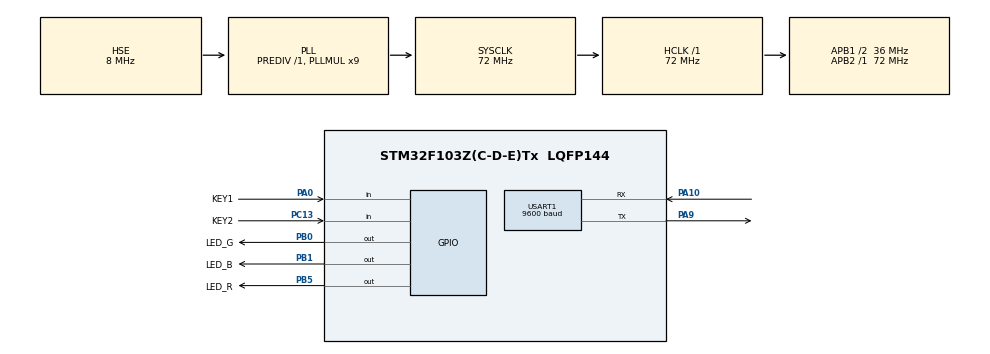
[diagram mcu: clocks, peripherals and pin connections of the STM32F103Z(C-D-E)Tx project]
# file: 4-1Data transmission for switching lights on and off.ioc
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Mcu.Family=STM32F1
Mcu.Name=STM32F103Z(C-D-E)Tx
Mcu.Package=LQFP144
NVIC.PriorityGroup=NVIC_PRIORITYGROUP_4
NVIC.USART1_IRQn=true\:10\:0\:true\:false\:true\:true\:true\:true
OSC_IN.Mode=HSE-External-Oscillator
OSC_IN.Signal=RCC_OSC_IN
OSC_OUT.Mode=HSE-External-Oscillator
OSC_OUT.Signal=RCC_OSC_OUT
PA0-WKUP.GPIO_Label=KEY1
PA0-WKUP.Signal=GPIO_Input
PA10.Mode=Asynchronous
PA10.Signal=USART1_RX
PA13.Mode=Serial_Wire
PA13.Signal=SYS_JTMS-SWDIO
PA14.Mode=Serial_Wire
PA14.Signal=SYS_JTCK-SWCLK
PA9.Mode=Asynchronous
PA9.Signal=USART1_TX
PB0.GPIO_Label=LED_G
PB0.GPIO_ModeDefaultOutputPP=GPIO_MODE_OUTPUT_PP
PB0.GPIO_Speed=GPIO_SPEED_FREQ_HIGH
PB0.PinState=GPIO_PIN_SET
PB0.Signal=GPIO_Output
PB1.GPIO_Label=LED_B
PB1.GPIO_Speed=GPIO_SPEED_FREQ_HIGH
PB1.PinState=GPIO_PIN_SET
PB1.Signal=GPIO_Output
PB5.GPIO_Label=LED_R
PB5.GPIO_Speed=GPIO_SPEED_FREQ_HIGH
PB5.PinState=GPIO_PIN_SET
PB5.Signal=GPIO_Output
PC13-TAMPER-RTC.GPIO_Label=KEY2
PC13-TAMPER-RTC.GPIO_PuPd=GPIO_NOPULL
PC13-TAMPER-RTC.Signal=GPIO_Input
PC14-OSC32_IN.Mode=LSE-External-Oscillator
PC14-OSC32_IN.Signal=RCC_OSC32_IN
PC15-OSC32_OUT.Mode=LSE-External-Oscillator
PC15-OSC32_OUT.Signal=RCC_OSC32_OUT
ProjectManager.HeapSize=0x200
ProjectManager.StackSize=0x400
ProjectManager.TargetToolchain=MDK-ARM V5
RCC.AHBFreq_Value=72000000
RCC.APB1CLKDivider=RCC_HCLK_DIV2
RCC.APB1Freq_Value=36000000
RCC.APB1TimFreq_Value=72000000
RCC.APB2Freq_Value=72000000
RCC.APB2TimFreq_Value=72000000
RCC.HCLKFreq_Value=72000000
RCC.PLLMUL=RCC_PLL_MUL9
RCC.PLLSourceVirtual=RCC_PLLSOURCE_HSE
RCC.SYSCLKFreq_VALUE=72000000
RCC.SYSCLKSource=RCC_SYSCLKSOURCE_PLLCLK
RCC.USBFreq_Value=72000000
USART1.BaudRate=9600
USART1.Mode=MODE_TX_RX
USART1.VirtualMode=VM_ASYNC
USART1.WordLength=WORDLENGTH_8B
board=custom

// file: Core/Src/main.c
/* USER CODE BEGIN Header */
/**
  ******************************************************************************
  * @file           : main.c
  * @brief          : Main program body
  ******************************************************************************
  * @attention
  *
  * Copyright (c) 2025 STMicroelectronics.
  * All rights reserved.
  *
  * This software is licensed under terms that can be found in the LICENSE file
  * in the root directory of this software component.
  * If no LICENSE file comes with this software, it is provided AS-IS.
  *
  ******************************************************************************
  */
/* USER CODE END Header */
#include "main.h"

/* USER CODE BEGIN Includes */
#include "stdio.h"

/* USER CODE END Includes */

UART_HandleTypeDef huart1;

void SystemClock_Config(void);
static void MX_GPIO_Init(void);
static void MX_USART1_UART_Init(void);

/* USER CODE BEGIN 0 */
/**
 * @brief 按键扫描函数
 * @return 按键状态
 */
unsigned char KeyScan(void)
{
    static unsigned char keyUp = 1; // 按键按下或松开标志，为1松手
    if(keyUp && (KEY1 == KEY_PRES || KEY2 == KEY_PRES)) // 如果有按键按下
    {
        HAL_Delay(10); // 延时消抖
        keyUp = 0; // 置按键按下标志
        if(KEY1 == KEY_PRES)
        {
            return KEY1_PRES; // KEY1被按下返回标志
        }
        else if(KEY2 == KEY_PRES)
        {
            return KEY2_PRES; // KEY2被按下返回标志
        }
    }
    else if(KEY1 == KEY_FREE && KEY2 == KEY_FREE) // 如果没有按键被按下
    {
        keyUp = 1; // 置按键松开标志
    }
    return 0; // 无按键按下
}

// 在Keil 魔术棒->Targets->C/C++选项卡中将"Use MicroLIB"选项勾选，否则printf无法使用
/**
 * @brief 重定向c库函数printf到USART1
 * @param ch 需要发送的字符
 * @param f 文件指针
 * @return 发送的字符
 */
int fputc(int ch, FILE *f)
{
    HAL_UART_Transmit(&huart1, (uint8_t *)&ch, 1, 0xFFFF); // 通过串口发送数据
    return ch;
}

/* USER CODE END 0 */

int main(void)
{

  /* USER CODE BEGIN 1 */
  unsigned char uartBuf[18] = "you pressed key1 !"; // 定义发送字符串
  unsigned char keyCnt = 0; // 串口发送计数器

  /* USER CODE END 1 */

  /* MCU Configuration--------------------------------------------------------*/

  /* Reset of all peripherals, Initializes the Flash interface and the Systick. */
  HAL_Init();

  /* Configure the system clock */
  SystemClock_Config();

  /* Initialize all configured peripherals */
  MX_GPIO_Init();
  MX_USART1_UART_Init();

  /* Infinite loop */
  /* USER CODE BEGIN WHILE */
  while (1)
  {
    // // 串口单独发送测试
    // if (KEY1_PRES == KeyScan()) // 如果KEY1按下
    // {
    //     HAL_GPIO_TogglePin(LED_R_GPIO_Port, LED_R_Pin); // 红灯状态取反
    //     HAL_UART_Transmit(&huart1, uartBuf, 18, 0xFFFF); // 通过串口发送字符串
    // }
    // 重映射printf函数测试
    if (KEY1_PRES == KeyScan()) // 如果KEY1按下
    {
        keyCnt++;
        HAL_GPIO_TogglePin(LED_R_GPIO_Port, LED_R_Pin); // 红灯状态取反
        HAL_UART_Transmit(&huart1, uartBuf, 18, 0xFFFF); // 通过串口发送字符串
        printf("you pressed key1 %d times !\r\n", keyCnt); // 通过串口发送字符串
    }
    /* USER CODE END WHILE */

  }
}

void SystemClock_Config(void)
{
  RCC_OscInitTypeDef RCC_OscInitStruct = {0};
  RCC_ClkInitTypeDef RCC_ClkInitStruct = {0};

  /** Initializes the RCC Oscillators according to the specified parameters
  * in the RCC_OscInitTypeDef structure.
  */
  RCC_OscInitStruct.OscillatorType = RCC_OSCILLATORTYPE_HSE;
  RCC_OscInitStruct.HSEState = RCC_HSE_ON;
  RCC_OscInitStruct.HSEPredivValue = RCC_HSE_PREDIV_DIV1;
  RCC_OscInitStruct.HSIState = RCC_HSI_ON;
  RCC_OscInitStruct.PLL.PLLState = RCC_PLL_ON;
  RCC_OscInitStruct.PLL.PLLSource = RCC_PLLSOURCE_HSE;
  RCC_OscInitStruct.PLL.PLLMUL = RCC_PLL_MUL9;
  if (HAL_RCC_OscConfig(&RCC_OscInitStruct) != HAL_OK)
  {
    Error_Handler();
  }

  /** Initializes the CPU, AHB and APB buses clocks
  */
  RCC_ClkInitStruct.ClockType = RCC_CLOCKTYPE_HCLK|RCC_CLOCKTYPE_SYSCLK
                              |RCC_CLOCKTYPE_PCLK1|RCC_CLOCKTYPE_PCLK2;
  RCC_ClkInitStruct.SYSCLKSource = RCC_SYSCLKSOURCE_PLLCLK;
  RCC_ClkInitStruct.AHBCLKDivider = RCC_SYSCLK_DIV1;
  RCC_ClkInitStruct.APB1CLKDivider = RCC_HCLK_DIV2;
  RCC_ClkInitStruct.APB2CLKDivider = RCC_HCLK_DIV1;

  if (HAL_RCC_ClockConfig(&RCC_ClkInitStruct, FLASH_LATENCY_2) != HAL_OK)
  {
    Error_Handler();
  }
}

static void MX_USART1_UART_Init(void)
{

  huart1.Instance = USART1;
  huart1.Init.BaudRate = 9600;
  huart1.Init.WordLength = UART_WORDLENGTH_8B;
  huart1.Init.StopBits = UART_STOPBITS_1;
  huart1.Init.Parity = UART_PARITY_NONE;
  huart1.Init.Mode = UART_MODE_TX_RX;
  huart1.Init.HwFlowCtl = UART_HWCONTROL_NONE;
  huart1.Init.OverSampling = UART_OVERSAMPLING_16;
  if (HAL_UART_Init(&huart1) != HAL_OK)
  {
    Error_Handler();
  }

}

static void MX_GPIO_Init(void)
{
  GPIO_InitTypeDef GPIO_InitStruct = {0};

  /* GPIO Ports Clock Enable */
  __HAL_RCC_GPIOC_CLK_ENABLE();
  __HAL_RCC_GPIOA_CLK_ENABLE();
  __HAL_RCC_GPIOB_CLK_ENABLE();

  /*Configure GPIO pin Output Level */
  HAL_GPIO_WritePin(GPIOB, LED_G_Pin|LED_B_Pin|LED_R_Pin, GPIO_PIN_SET);

  /*Configure GPIO pin : KEY2_Pin */
  GPIO_InitStruct.Pin = KEY2_Pin;
  GPIO_InitStruct.Mode = GPIO_MODE_INPUT;
  GPIO_InitStruct.Pull = GPIO_NOPULL;
  HAL_GPIO_Init(KEY2_GPIO_Port, &GPIO_InitStruct);

  /*Configure GPIO pin : KEY1_Pin */
  GPIO_InitStruct.Pin = KEY1_Pin;
  GPIO_InitStruct.Mode = GPIO_MODE_INPUT;
  GPIO_InitStruct.Pull = GPIO_NOPULL;
  HAL_GPIO_Init(KEY1_GPIO_Port, &GPIO_InitStruct);

  /*Configure GPIO pins : LED_G_Pin LED_B_Pin LED_R_Pin */
  GPIO_InitStruct.Pin = LED_G_Pin|LED_B_Pin|LED_R_Pin;
  GPIO_InitStruct.Mode = GPIO_MODE_OUTPUT_PP;
  GPIO_InitStruct.Pull = GPIO_NOPULL;
  GPIO_InitStruct.Speed = GPIO_SPEED_FREQ_HIGH;
  HAL_GPIO_Init(GPIOB, &GPIO_InitStruct);

}

void Error_Handler(void)
{
  __disable_irq();
  while (1)
  {
  }
}
